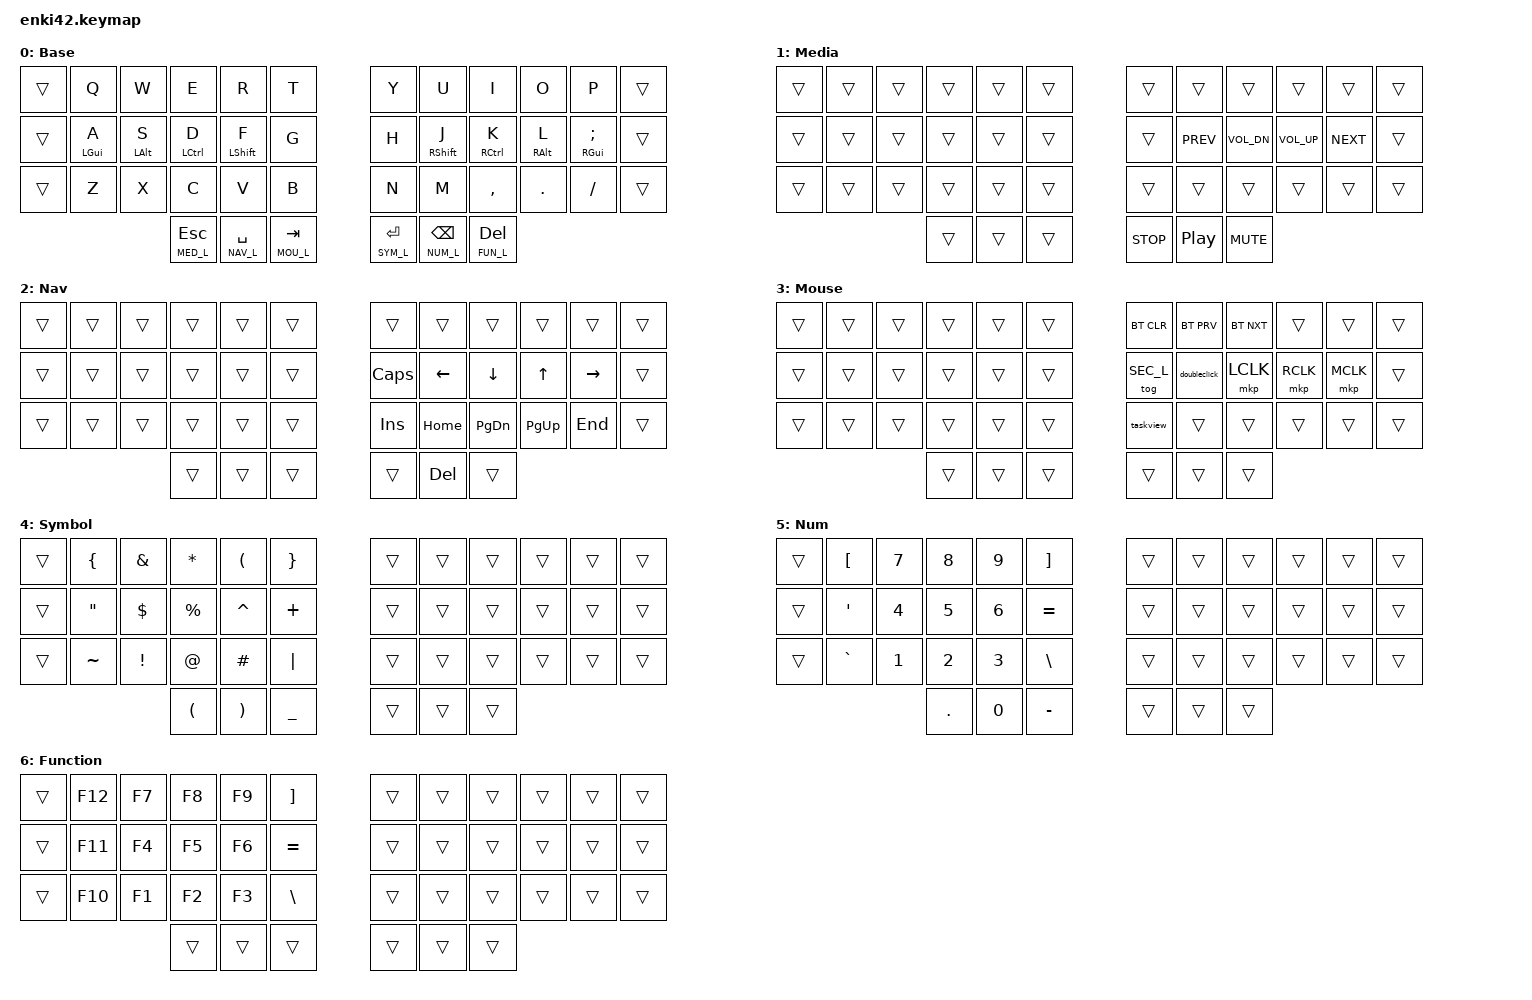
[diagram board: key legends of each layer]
/*
 * Copyright (c) 2020 The ZMK Contributors
 *
 * SPDX-License-Identifier: MIT
 */

#include <behaviors.dtsi>
#include <dt-bindings/zmk/keys.h>
#include <dt-bindings/zmk/bt.h>
#include <dt-bindings/zmk/mouse.h>
#include <dt-bindings/zmk/outputs.h>

#define MED_L 1
#define NAV_L 2
#define MOU_L 3
#define SYM_L 4
#define NUM_L 5
#define FUN_L 6
#define SMO_L 8
#define SSC_L 9
#define SEC_L 10

// Using layer taps on thumbs, having quick tap as well helps w/ repeating space/backspace
&lt { quick_tap_ms = <200>; };

/ {
        macros {
                ZMK_MACRO(taskview,
                        wait-ms = <0>;
                        tap-ms  = <10>;
                        bindings = <&kp LG(TAB)>;
                )

                ZMK_MACRO(doubleclick,
                        wait-ms = <0>;
                        tap-ms  = <10>;
                        bindings = <&mkp LCLK &mkp LCLK>;
                )
        };

        keymap {
    compatible = "zmk,keymap";

        Base {
            label = "Base";
            bindings = <
    &trans &kp Q       &kp W       &kp E        &kp R         &kp T                 &kp Y  &kp U         &kp I        &kp O       &kp P &trans
    &trans &mt LGUI A  &mt LALT S  &mt LCTRL D  &mt LSHIFT F  &kp G                 &kp H  &mt RSHIFT J  &mt RCTRL K  &mt RALT L  &mt RGUI SEMI &trans
    &trans &kp Z       &kp X       &kp C        &kp V         &kp B                 &kp N  &kp M         &kp COMMA    &kp DOT     &kp FSLH &trans
                &lt MED_L ESC  &lt NAV_L SPACE  &lt MOU_L TAB                &lt SYM_L ENTER   &lt NUM_L BACKSPACE  &lt FUN_L DEL
            >;
        };

        Media {
            label = "Media";
            bindings = <
    &trans &trans  &trans  &trans  &trans  &trans      &trans  &trans      &trans     &trans     &trans &trans
    &trans &trans  &trans  &trans  &trans  &trans      &trans  &kp C_PREV  &kp C_VOL_DN  &kp C_VOL_UP  &kp C_NEXT &trans
    &trans &trans  &trans  &trans  &trans  &trans      &trans  &trans      &trans     &trans     &trans &trans
                    &trans  &trans  &trans      &kp C_STOP  &kp C_PLAY_PAUSE &kp C_MUTE
            >;
        };

        Nav {
            label = "Nav";
            bindings = <
    &trans &trans  &trans  &trans  &trans  &trans      &trans      &trans      &trans      &trans     &trans &trans
    &trans &trans  &trans  &trans  &trans  &trans      &kp CAPS    &kp LEFT    &kp DOWN    &kp UP     &kp RIGHT &trans
    &trans &trans  &trans  &trans  &trans  &trans      &kp INSERT  &kp HOME    &kp PG_DN   &kp PG_UP  &kp END &trans
                    &trans  &trans  &trans      &trans      &kp DEL     &trans
            >;
        };

        Mouse {
            label = "Mouse";
            bindings = <
    &trans &trans  &trans  &trans  &trans  &trans      &bt BT_CLR  &bt BT_PRV  &bt BT_NXT     &trans     &trans &trans
    &trans &trans  &trans  &trans  &trans  &trans      &tog SEC_L  &doubleclick  &mkp LCLK  &mkp RCLK  &mkp MCLK &trans
    &trans &trans  &trans  &trans  &trans  &trans      &taskview  &trans  &trans    &trans     &trans &trans
                    &trans  &trans  &trans      &trans  &trans  &trans
            >;
        };

        Symbol {
            label = "Symbol";
            bindings = <
    &trans &kp LBRC   &kp AMPS   &kp STAR    &kp LPAR  &kp RBRC        &trans  &trans  &trans     &trans     &trans &trans
    &trans &kp DQT    &kp DOLLAR &kp PERCENT &kp CARET &kp PLUS        &trans  &trans  &trans     &trans     &trans &trans
    &trans &kp TILDE  &kp EXCL   &kp AT      &kp HASH  &kp PIPE        &trans  &trans  &trans     &trans     &trans &trans
                          &kp LPAR    &kp RPAR  &kp UNDER       &trans  &trans  &trans
            >;
        };

        Num {
            label = "Num";
            bindings = <
    &trans &kp LBKT  &kp N7 &kp N8 &kp N9 &kp RBKT         &trans  &trans     &trans     &trans     &trans &trans
    &trans &kp APOS  &kp N4 &kp N5 &kp N6 &kp EQUAL        &trans  &trans     &trans     &trans     &trans &trans
    &trans &kp GRAVE &kp N1 &kp N2 &kp N3 &kp BSLH         &trans  &trans     &trans     &trans     &trans &trans
                    &kp DOT &kp N0 &kp MINUS       &trans  &trans  &trans
            >;
        };

        Function {
            label = "Function";
            bindings = <
    &trans &kp F12  &kp F7 &kp F8 &kp F9 &kp RBKT         &trans  &trans  &trans     &trans     &trans &trans
    &trans &kp F11  &kp F4 &kp F5 &kp F6 &kp EQUAL        &trans  &trans  &trans     &trans     &trans &trans
    &trans &kp F10  &kp F1 &kp F2 &kp F3 &kp BSLH         &trans  &trans  &trans     &trans     &trans &trans
                    &trans &trans &trans           &trans  &trans  &trans
            >;
        };
    };
};
